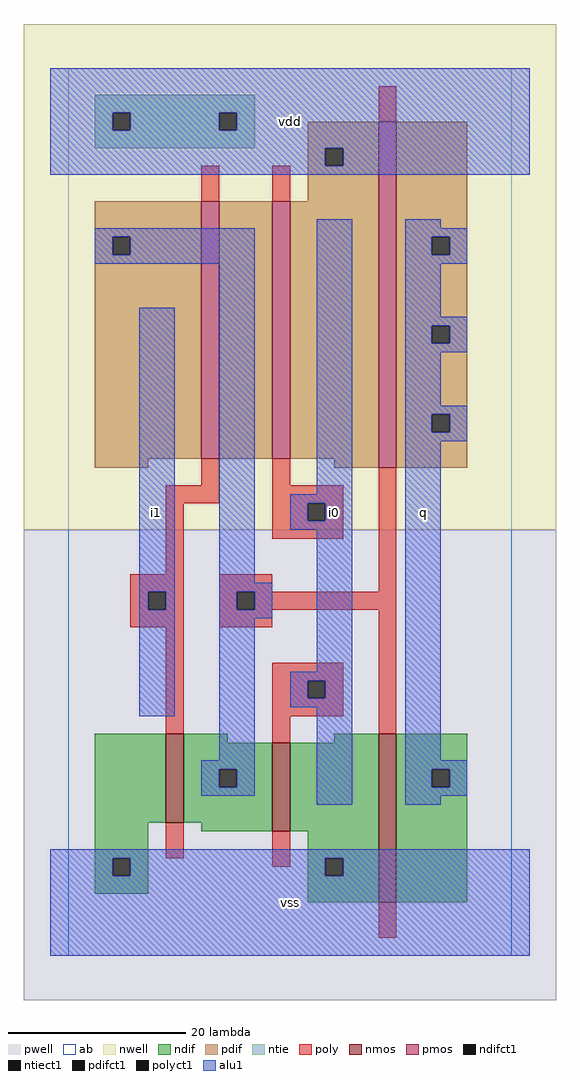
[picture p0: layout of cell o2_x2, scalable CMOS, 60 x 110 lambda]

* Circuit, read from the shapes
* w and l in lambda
.subckt o2_x2 i0 i1 q vdd vss
M1 n1 i1 vss VSUBS nfet w=10 l=2
M2 vss i0 n1 VSUBS nfet w=10 l=2
M3 q n1 vss VSUBS nfet w=19 l=2
M4 n2 i1 n1 vdd pfet w=29 l=2
M5 vdd i0 n2 vdd pfet w=29 l=2
M6 q n1 vdd vdd pfet w=39 l=2
.ends

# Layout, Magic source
magic
tech scmos
<< ab >>
rect 0 0 50 100
<< nwell >>
rect -5 48 55 105
<< pwell >>
rect -5 -5 55 48
<< poly >>
rect 35 94 37 98
rect 15 85 17 89
rect 23 85 25 89
rect 15 53 17 56
rect 11 51 17 53
rect 23 53 25 56
rect 23 51 31 53
rect 11 43 13 51
rect 23 49 27 51
rect 29 49 31 51
rect 23 47 31 49
rect 7 41 13 43
rect 7 39 9 41
rect 11 39 13 41
rect 7 37 13 39
rect 17 41 23 43
rect 35 41 37 55
rect 17 39 19 41
rect 21 39 37 41
rect 17 37 23 39
rect 11 25 13 37
rect 23 31 31 33
rect 23 29 27 31
rect 29 29 31 31
rect 23 27 31 29
rect 23 24 25 27
rect 35 25 37 39
rect 11 11 13 15
rect 23 10 25 14
rect 35 2 37 6
<< ndif >>
rect 3 15 11 25
rect 13 24 18 25
rect 30 24 35 25
rect 13 21 23 24
rect 13 19 17 21
rect 19 19 23 21
rect 13 15 23 19
rect 3 11 9 15
rect 15 14 23 15
rect 25 14 35 24
rect 3 9 5 11
rect 7 9 9 11
rect 27 11 35 14
rect 3 7 9 9
rect 27 9 29 11
rect 31 9 35 11
rect 27 6 35 9
rect 37 21 45 25
rect 37 19 41 21
rect 43 19 45 21
rect 37 6 45 19
<< pdif >>
rect 27 91 35 94
rect 27 89 29 91
rect 31 89 35 91
rect 27 85 35 89
rect 3 81 15 85
rect 3 79 5 81
rect 7 79 15 81
rect 3 56 15 79
rect 17 56 23 85
rect 25 56 35 85
rect 3 55 9 56
rect 30 55 35 56
rect 37 81 45 94
rect 37 79 41 81
rect 43 79 45 81
rect 37 71 45 79
rect 37 69 41 71
rect 43 69 45 71
rect 37 61 45 69
rect 37 59 41 61
rect 43 59 45 61
rect 37 55 45 59
<< alu1 >>
rect -2 95 52 100
rect -2 93 5 95
rect 7 93 17 95
rect 19 93 52 95
rect -2 91 52 93
rect -2 89 29 91
rect 31 89 52 91
rect -2 88 52 89
rect 3 81 21 82
rect 3 79 5 81
rect 7 79 21 81
rect 3 78 21 79
rect 8 41 12 73
rect 8 39 9 41
rect 11 39 12 41
rect 8 27 12 39
rect 17 42 21 78
rect 28 52 32 83
rect 25 51 32 52
rect 25 49 27 51
rect 29 49 32 51
rect 25 48 32 49
rect 17 41 23 42
rect 17 39 19 41
rect 21 39 23 41
rect 17 38 23 39
rect 17 22 21 38
rect 28 32 32 48
rect 25 31 32 32
rect 25 29 27 31
rect 29 29 32 31
rect 25 28 32 29
rect 15 21 21 22
rect 15 19 17 21
rect 19 19 21 21
rect 15 18 21 19
rect 28 17 32 28
rect 38 82 42 83
rect 38 81 45 82
rect 38 79 41 81
rect 43 79 45 81
rect 38 78 45 79
rect 38 72 42 78
rect 38 71 45 72
rect 38 69 41 71
rect 43 69 45 71
rect 38 68 45 69
rect 38 62 42 68
rect 38 61 45 62
rect 38 59 41 61
rect 43 59 45 61
rect 38 58 45 59
rect 38 22 42 58
rect 38 21 45 22
rect 38 19 41 21
rect 43 19 45 21
rect 38 18 45 19
rect 38 17 42 18
rect -2 11 52 12
rect -2 9 5 11
rect 7 9 29 11
rect 31 9 52 11
rect -2 0 52 9
<< ntie >>
rect 3 95 21 97
rect 3 93 5 95
rect 7 93 17 95
rect 19 93 21 95
rect 3 91 21 93
<< nmos >>
rect 11 15 13 25
rect 23 14 25 24
rect 35 6 37 25
<< pmos >>
rect 15 56 17 85
rect 23 56 25 85
rect 35 55 37 94
<< polyct1 >>
rect 27 49 29 51
rect 9 39 11 41
rect 19 39 21 41
rect 27 29 29 31
<< ndifct1 >>
rect 17 19 19 21
rect 5 9 7 11
rect 29 9 31 11
rect 41 19 43 21
<< ntiect1 >>
rect 5 93 7 95
rect 17 93 19 95
<< pdifct1 >>
rect 29 89 31 91
rect 5 79 7 81
rect 41 79 43 81
rect 41 69 43 71
rect 41 59 43 61
<< labels >>
rlabel alu1 10 50 10 50 6 i1
rlabel alu1 25 6 25 6 6 vss
rlabel alu1 30 50 30 50 6 i0
rlabel alu1 25 94 25 94 6 vdd
rlabel alu1 40 50 40 50 6 q
<< end >>
